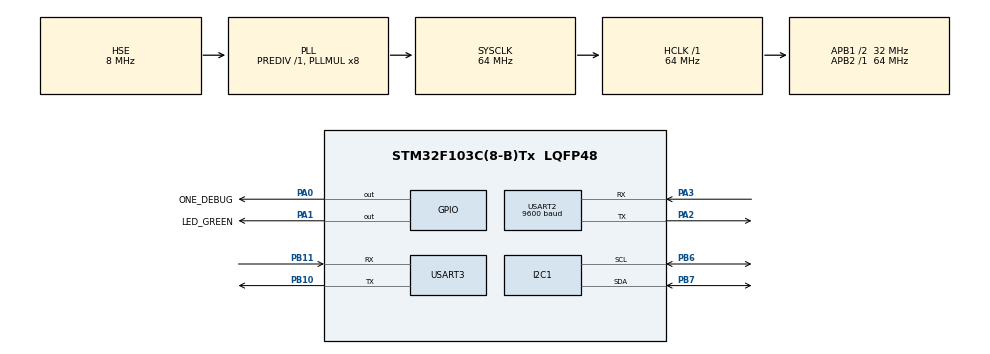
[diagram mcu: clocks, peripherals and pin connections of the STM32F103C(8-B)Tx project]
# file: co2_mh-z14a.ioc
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Dma.Request0=USART3_RX
Dma.Request1=USART2_RX
Dma.USART2_RX.1.Direction=DMA_PERIPH_TO_MEMORY
Dma.USART2_RX.1.Instance=DMA1_Channel6
Dma.USART2_RX.1.MemDataAlignment=DMA_MDATAALIGN_BYTE
Dma.USART2_RX.1.MemInc=DMA_MINC_ENABLE
Dma.USART2_RX.1.Mode=DMA_CIRCULAR
Dma.USART2_RX.1.PeriphDataAlignment=DMA_PDATAALIGN_BYTE
Dma.USART2_RX.1.PeriphInc=DMA_PINC_DISABLE
Dma.USART2_RX.1.Priority=DMA_PRIORITY_LOW
Dma.USART3_RX.0.Direction=DMA_PERIPH_TO_MEMORY
Dma.USART3_RX.0.Instance=DMA1_Channel3
Dma.USART3_RX.0.MemDataAlignment=DMA_MDATAALIGN_BYTE
Dma.USART3_RX.0.MemInc=DMA_MINC_ENABLE
Dma.USART3_RX.0.Mode=DMA_CIRCULAR
Dma.USART3_RX.0.PeriphDataAlignment=DMA_PDATAALIGN_BYTE
Dma.USART3_RX.0.PeriphInc=DMA_PINC_DISABLE
Dma.USART3_RX.0.Priority=DMA_PRIORITY_LOW
Mcu.Family=STM32F1
Mcu.Name=STM32F103C(8-B)Tx
Mcu.Package=LQFP48
NVIC.DMA1_Channel3_IRQn=true\:0\:0\:false\:false\:true\:false\:true
NVIC.DMA1_Channel6_IRQn=true\:0\:0\:false\:false\:true\:false\:true
NVIC.PriorityGroup=NVIC_PRIORITYGROUP_4
NVIC.TIM3_IRQn=true\:0\:0\:false\:false\:true\:true\:true
PA0-WKUP.GPIO_Label=ONE_DEBUG
PA0-WKUP.GPIO_PuPd=GPIO_PULLUP
PA0-WKUP.PinState=GPIO_PIN_SET
PA0-WKUP.Signal=GPIO_Output
PA1.GPIO_Label=LED_GREEN
PA1.Signal=GPIO_Output
PA13.Mode=Serial_Wire
PA13.Signal=SYS_JTMS-SWDIO
PA14.Mode=Serial_Wire
PA14.Signal=SYS_JTCK-SWCLK
PA2.Mode=Asynchronous
PA2.Signal=USART2_TX
PA3.Mode=Asynchronous
PA3.Signal=USART2_RX
PB10.Mode=Asynchronous
PB10.Signal=USART3_TX
PB11.Mode=Asynchronous
PB11.Signal=USART3_RX
PB6.GPIO_Pu=GPIO_PULLUP
PB6.Mode=I2C
PB6.Signal=I2C1_SCL
PB7.GPIO_Pu=GPIO_PULLUP
PB7.Mode=I2C
PB7.Signal=I2C1_SDA
PD0-OSC_IN.Mode=HSE-External-Oscillator
PD0-OSC_IN.Signal=RCC_OSC_IN
PD1-OSC_OUT.Mode=HSE-External-Oscillator
PD1-OSC_OUT.Signal=RCC_OSC_OUT
ProjectManager.HeapSize=0x200
ProjectManager.StackSize=0x400
ProjectManager.TargetToolchain=SW4STM32
RCC.AHBFreq_Value=64000000
RCC.APB1CLKDivider=RCC_HCLK_DIV2
RCC.APB1Freq_Value=32000000
RCC.APB1TimFreq_Value=64000000
RCC.APB2Freq_Value=64000000
RCC.APB2TimFreq_Value=64000000
RCC.HCLKFreq_Value=64000000
RCC.PLLMUL=RCC_PLL_MUL8
RCC.PLLSourceVirtual=RCC_PLLSOURCE_HSE
RCC.SYSCLKFreq_VALUE=64000000
RCC.SYSCLKSource=RCC_SYSCLKSOURCE_PLLCLK
RCC.USBFreq_Value=64000000
TIM3.Period=1000-1
TIM3.Prescaler=64000-1
USART2.BaudRate=9600
USART2.VirtualMode=VM_ASYNC
USART3.VirtualMode=VM_ASYNC
VP_TIM3_VS_ClockSourceINT.Mode=Internal
board=custom

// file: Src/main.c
/* USER CODE BEGIN Header */
/**
  ******************************************************************************
  * @file           : main.c
  * @brief          : Main program body
  ******************************************************************************
  * @attention
  *
  * <h2><center>&copy; Copyright (c) 2021 STMicroelectronics.
  * All rights reserved.</center></h2>
  *
  * This software component is licensed by ST under BSD 3-Clause license,
  * the "License"; You may not use this file except in compliance with the
  * License. You may obtain a copy of the License at:
  *                        opensource.org/licenses/BSD-3-Clause
  *
  ******************************************************************************
  */
/* USER CODE END Header */
#include "main.h"
#include "dma.h"
#include "i2c.h"
#include "tim.h"
#include "usart.h"
#include "gpio.h"

/* USER CODE BEGIN Includes */

	#include "mh-z14_sm.h"
	#include "lcd1602_fc113_sm.h"
	#include "ringbuffer_dma_sm.h"
	#include "average_calc_3_from_5.h"
	#include "one-pin-debug-sm.h"

/* USER CODE END Includes */

/* USER CODE BEGIN PD */

	#define CIRCLE_QNT 5
	#define ADR_I2C_FC113 0x27
	#define SOFT_VERSION 	120

/* USER CODE END PD */

	extern		OnePin_Debug_struct		hOnePin;
	uint32_t co2_u32[CIRCLE_QNT];
	char uart_buff_char[100];

/* USER CODE BEGIN PV */
/* Private variables ---------------------------------------------------------*/

/* USER CODE END PV */

void SystemClock_Config(void);
/* USER CODE BEGIN PFP */
/* Private function prototypes -----------------------------------------------*/

/* USER CODE END PFP */

int main(void)
{

  /* MCU Configuration--------------------------------------------------------*/

  /* Reset of all peripherals, Initializes the Flash interface and the Systick. */
  HAL_Init();

  /* Configure the system clock */
  SystemClock_Config();

  /* Initialize all configured peripherals */
  MX_GPIO_Init();
  MX_DMA_Init();
  MX_I2C1_Init();
  MX_USART3_UART_Init();
  MX_USART2_UART_Init();
  MX_TIM3_Init();
  /* USER CODE BEGIN 2 */

	OnePin_Init(  ONE_DEBUG_GPIO_Port, ONE_DEBUG_Pin, 1) ;

	sprintf( uart_buff_char, "\r\n\r\n\t Start:\r\n"  ) ;
	One_pin_debug_print ( (uint8_t *)uart_buff_char, strlen(uart_buff_char) ) ;

	int soft_version_arr_int[3];
	soft_version_arr_int[0] = ((SOFT_VERSION) / 100) %10 ;
	soft_version_arr_int[1] = ((SOFT_VERSION) /  10) %10 ;
	soft_version_arr_int[2] = ((SOFT_VERSION)      ) %10 ;

	sprintf( uart_buff_char, "\t Ver: v%d.%d.%d\r\n", soft_version_arr_int[0], soft_version_arr_int[1], soft_version_arr_int[2] ) ;
	One_pin_debug_print ( (uint8_t *)uart_buff_char, strlen(uart_buff_char) ) ;

	#define 	DATE_as_int_str 	(__DATE__)
	#define 	TIME_as_int_str 	(__TIME__)
	sprintf(uart_buff_char,"\t build: %s,  time: %s. \r\n" , DATE_as_int_str , TIME_as_int_str ) ;
	One_pin_debug_print ( (uint8_t *)uart_buff_char, strlen(uart_buff_char) ) ;

	HAL_TIM_Base_Start_IT(&htim3);
	MH_Z14A_Init( );

	lcd1602_fc113_struct h1_lcd1602_fc113 =
		{
			.i2c = &hi2c1,
			.device_i2c_address = ADR_I2C_FC113
		};

	LCD1602_Init(&h1_lcd1602_fc113);
	LCD1602_Scan_I2C_bus( &h1_lcd1602_fc113 ) ;
	//LCD1602_Scan_I2C_to_UART( &h1_lcd1602_fc113, &huart1 ) ;
	LCD1602_Clear(&h1_lcd1602_fc113);

	sprintf(uart_buff_char,"LCD1602 Started\r\n");
	LCD1602_Print_Line(&h1_lcd1602_fc113, uart_buff_char, strlen(uart_buff_char));
	HAL_Delay(1000);

	LCD1602_Clear(&h1_lcd1602_fc113);
	sprintf(uart_buff_char,"connect WiFi...\r\n");
	LCD1602_Print_Line(&h1_lcd1602_fc113, uart_buff_char, strlen(uart_buff_char));

	RingBuffer_DMA_Connect( );	// todo wait why answer is: "busy p..."

	LCD1602_Clear(&h1_lcd1602_fc113);
	sprintf(uart_buff_char,"WiFi Started\r\n");
	LCD1602_Print_Line(&h1_lcd1602_fc113, uart_buff_char, strlen(uart_buff_char));

  /* USER CODE END 2 */

  /* Infinite loop */
  /* USER CODE BEGIN WHILE */
while (1)
{
	static uint32_t sec_counter_u32 ;
	static uint8_t	time_to_work_u8 ;
	static uint8_t 	circle_u8 = 0 		;

	if (GetTimeFlag() == 1) {
		HAL_GPIO_TogglePin(LED_GREEN_GPIO_Port, LED_GREEN_Pin);
		sec_counter_u32++;

		sprintf(uart_buff_char,"  %d) wait %02d \r", (int)(CIRCLE_QNT-circle_u8), (int)(60 - sec_counter_u32) ) ;
		One_pin_debug_print ( (uint8_t *)uart_buff_char, strlen(uart_buff_char) ) ;
		LCD1602_Clear(&h1_lcd1602_fc113);
		LCD1602_Print_Line(&h1_lcd1602_fc113, uart_buff_char, strlen(uart_buff_char));

		if (sec_counter_u32 > 59 )
		{
			time_to_work_u8 = 1 ;
			sec_counter_u32 = 0;
		}
		SetTimeFlag(0);
	}

	if (time_to_work_u8 == 1 ) {
		time_to_work_u8 = 0 ;
		if (circle_u8 < CIRCLE_QNT) {
			co2_u32[circle_u8] = MH_Z14A_Main( );
			sprintf(uart_buff_char,"CO2: %d ppm\r\n", (int)co2_u32[circle_u8]);
			LCD1602_Print_Line(&h1_lcd1602_fc113, uart_buff_char, strlen(uart_buff_char));
			One_pin_debug_print( (uint8_t *)uart_buff_char, strlen(uart_buff_char) ) ;
			circle_u8++;
		}

		if (circle_u8 == CIRCLE_QNT) {
			uint32_t total_co2_u32 = Calc_Average( co2_u32, CIRCLE_QNT);

			sprintf(uart_buff_char,"total CO2: %d\r\n", (int)total_co2_u32);
			LCD1602_Clear(&h1_lcd1602_fc113);
			LCD1602_Print_Line(&h1_lcd1602_fc113, uart_buff_char, strlen(uart_buff_char));

			char http_req[200];
			sprintf(http_req, "&field7=%d\r\n\r\n", (int)total_co2_u32 );
			RingBuffer_DMA_Main( http_req ) ;	//	todo If answer is: "SEND FAIL"
			circle_u8 = 0;
		}
	}

    /* USER CODE END WHILE */

  }
}

void SystemClock_Config(void)
{
  RCC_OscInitTypeDef RCC_OscInitStruct = {0};
  RCC_ClkInitTypeDef RCC_ClkInitStruct = {0};

  /** Initializes the RCC Oscillators according to the specified parameters
  * in the RCC_OscInitTypeDef structure.
  */
  RCC_OscInitStruct.OscillatorType = RCC_OSCILLATORTYPE_HSE;
  RCC_OscInitStruct.HSEState = RCC_HSE_ON;
  RCC_OscInitStruct.HSEPredivValue = RCC_HSE_PREDIV_DIV1;
  RCC_OscInitStruct.HSIState = RCC_HSI_ON;
  RCC_OscInitStruct.PLL.PLLState = RCC_PLL_ON;
  RCC_OscInitStruct.PLL.PLLSource = RCC_PLLSOURCE_HSE;
  RCC_OscInitStruct.PLL.PLLMUL = RCC_PLL_MUL8;
  if (HAL_RCC_OscConfig(&RCC_OscInitStruct) != HAL_OK)
  {
    Error_Handler();
  }
  /** Initializes the CPU, AHB and APB buses clocks
  */
  RCC_ClkInitStruct.ClockType = RCC_CLOCKTYPE_HCLK|RCC_CLOCKTYPE_SYSCLK
                              |RCC_CLOCKTYPE_PCLK1|RCC_CLOCKTYPE_PCLK2;
  RCC_ClkInitStruct.SYSCLKSource = RCC_SYSCLKSOURCE_PLLCLK;
  RCC_ClkInitStruct.AHBCLKDivider = RCC_SYSCLK_DIV1;
  RCC_ClkInitStruct.APB1CLKDivider = RCC_HCLK_DIV2;
  RCC_ClkInitStruct.APB2CLKDivider = RCC_HCLK_DIV1;

  if (HAL_RCC_ClockConfig(&RCC_ClkInitStruct, FLASH_LATENCY_2) != HAL_OK)
  {
    Error_Handler();
  }
}

void Error_Handler(void)
{
  while(1)
  {
  }
}

/************************ (C) COPYRIGHT STMicroelectronics *****END OF FILE****/
